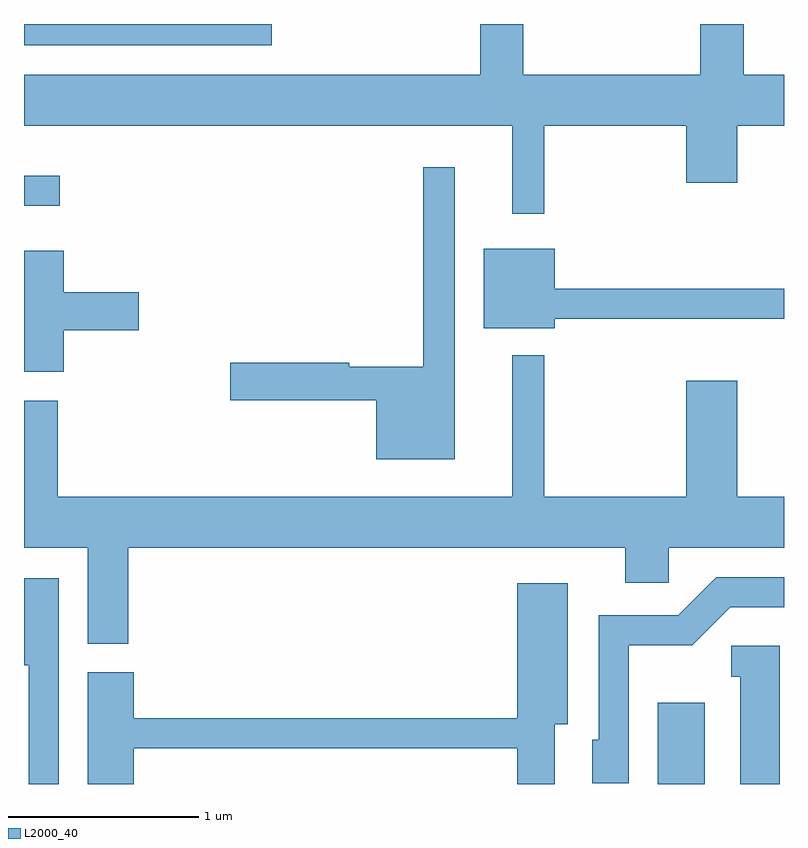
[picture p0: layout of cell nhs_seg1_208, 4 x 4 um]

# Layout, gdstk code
import gdstk
lib = gdstk.Library(unit=1e-6, precision=1e-09)
def R(c, l, rs):  # rectangles x0, y0, x1, y1
    for r in rs: c.add(gdstk.rectangle(r[:2], r[2:], *l))
def P(c, l, *ps):  # polygons
    for p in ps: c.add(gdstk.Polygon(p, *l))
L2000_40 = (2000, 40)

nhs_seg1_208 = lib.new_cell('nhs_seg1_208')
R(nhs_seg1_208, L2000_40, [(194.946,851.712,195.194,852.139), (191.611,854.756,191.798,854.914), (191.611,855.601,192.914,855.712)])
P(nhs_seg1_208, L2000_40, [(194.349,855.176),(195.096,855.176),(195.096,854.876),(195.364,854.876),(195.364,855.176),(195.611,855.176),(195.611,855.444),(195.399,855.444),(195.399,855.712),(195.171,855.712),(195.171,855.444),(194.239,855.444),(194.239,855.712),(194.011,855.712),(194.011,855.444),(191.611,855.444),(191.611,855.176),(194.181,855.176),(194.181,854.713),(194.349,854.713)],
  [(193.879,854.958),(193.711,854.958),(193.711,853.909),(193.324,853.909),(193.324,853.929),(192.696,853.929),(192.696,853.731),(193.466,853.731),(193.466,853.421),(193.879,853.421)],
  [(194.404,854.161),(195.611,854.161),(195.611,854.319),(194.404,854.319),(194.404,854.529),(194.031,854.529),(194.031,854.111),(194.404,854.111)],
  [(191.819,854.101),(192.214,854.101),(192.214,854.299),(191.819,854.299),(191.819,854.519),(191.611,854.519),(191.611,853.881),(191.819,853.881)],
  [(192.159,852.956),(194.776,852.956),(194.776,852.771),(195.004,852.771),(195.004,852.956),(195.611,852.956),(195.611,853.224),(195.364,853.224),(195.364,853.834),(195.096,853.834),(195.096,853.224),(194.349,853.224),(194.349,853.968),(194.181,853.968),(194.181,853.224),(191.789,853.224),(191.789,853.729),(191.611,853.729),(191.611,852.956),(191.946,852.956),(191.946,852.451),(192.159,852.451)],
  [(194.794,852.441),(195.127,852.441),(195.327,852.641),(195.611,852.641),(195.611,852.799),(195.254,852.799),(195.054,852.599),(194.636,852.599),(194.636,851.944),(194.601,851.944),(194.601,851.716),(194.794,851.716)],
  [(191.794,852.794),(191.611,852.794),(191.611,852.336),(191.636,852.336),(191.636,851.712),(191.794,851.712)],
  [(192.189,851.901),(194.206,851.901),(194.206,851.712),(194.404,851.712),(194.404,852.026),(194.474,852.026),(194.474,852.769),(194.206,852.769),(194.206,852.059),(192.189,852.059),(192.189,852.299),(191.946,852.299),(191.946,851.712),(192.189,851.712)],
  [(195.589,852.439),(195.333,852.439),(195.333,852.276),(195.381,852.276),(195.381,851.712),(195.589,851.712)])

lib.write_gds('nhs_seg1_208.gds')
